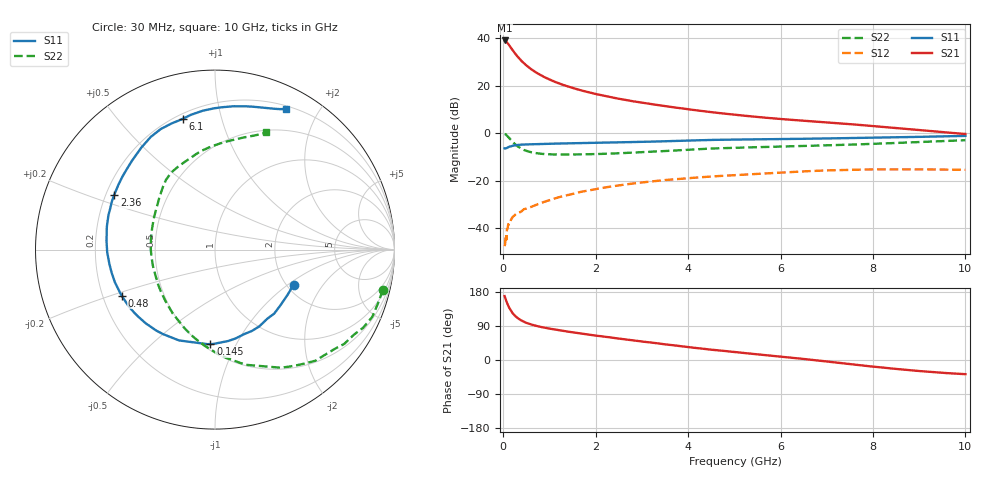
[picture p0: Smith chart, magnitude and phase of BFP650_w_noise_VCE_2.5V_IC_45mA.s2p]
! Infineon Technologies  Discrete & RF Semiconductors
! BFP650
! VCE =  2.5 V,  IC =  45 mA
! Common Emitter S-Parameters:  Jan 2016
# GHz  S  MA  R  50
!  f  S11  S21  S12  S22
! GHz  MAG  ANG  MAG  ANG  MAG  ANG  MAG  ANG
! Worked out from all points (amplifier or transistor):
!   229 points, 30 MHz to 10 GHz, reference 50 ohm
!   highest |S21| = 39.0 dB at 30 MHz (marker M1)
!   |S21| within 3 dB of that: start of sweep to 164.4 MHz
!   unconditionally stable (mu >= 1): 1.891 GHz to end of sweep
!   at 280 MHz: K = 0.44, MSG = 33.5 dB, |S12| = -33.9 dB
!   at 1.78 GHz: K = 0.99, MSG = 20.9 dB, |S12| = -24.3 dB
!   at 10 GHz: K = 1.03, MAG = 6.4 dB, |S12| = -15.4 dB
!   lowest NFmin = 0.91 dB at 450 MHz
!   S11 on the Smith chart (normalised r, x): 30 MHz: 2.18, -1.10; 145 MHz: 0.54, -0.79; 480 MHz: 0.28, -0.22; 2.36 GHz: 0.23, +0.24; 6.1 GHz: 0.23, +0.76; 10 GHz: 0.24, +1.60
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0.03  0.4795 -24.0  89.41 168.6  0.0042 68.5  0.962 -13.5
0.05  0.4787 -40.4  86.8 160.9  0.0067 68.9  0.9532 -23.1
0.06  0.4858 -47.3  86 157.9  0.0074 62.4  0.9332 -27.8
0.08  0.494 -60.1  81.9 151.3  0.0095 66.3  0.8913 -36.1
0.11  0.5084 -77.1  75.35 142.8  0.0122 64.0  0.8349 -47.8
0.145  0.5269 -92.8  67.36 134.5  0.0135 57.7  0.7617 -59.3
0.2  0.5443 -111.6  56.53 124.0  0.0171 54.8  0.6641 -75.1
0.26  0.5574 -125.9  47.21 116.0  0.0193 54.1  0.5825 -88.3
0.3  0.5637 -133.4  42.1 111.6  0.0209 51.4  0.5389 -96.1
0.4  0.5753 -146.4  32.83 103.7  0.0229 50.6  0.4685 -111.5
0.48  0.5793 -153.7  27.82 99.1  0.0256 50.5  0.4324 -121.3
0.7  0.59 -167.2  19.22 90.4  0.0309 51.8  0.3826 -141.7
0.9  0.5963 -175.3  14.95 85.1  0.0364 52.1  0.3632 -154.8
1.22  0.6068 175.1  11.04 78.2  0.0454 52.3  0.3561 -169.7
1.7  0.6205 164.0  7.9 69.6  0.0589 50.4  0.359 174.5
2.36  0.6387 151.5  5.64 58.8  0.0762 45.2  0.3732 158.5
3.4  0.6725 134.7  3.838 43.0  0.101 35.3  0.4157 139.4
5.1  0.7375 113.1  2.394 19.9  0.1324 18.7  0.4968 118.0
6.1  0.7513 103.6  1.956 7.8  0.1499 9.6  0.5257 106.0
6.8  0.7706 97.0  1.747 -1.1  0.1618 2.2  0.5491 99.3
8.4  0.8175 77.5  1.311 -22.4  0.1738 -15.3  0.6176 81.0
10  0.8778 63.1  0.963 -37.4  0.1698 -27.7  0.7124 66.4
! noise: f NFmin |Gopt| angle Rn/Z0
0.45  0.91  0.13  169  1.13
0.9  0.93  0.39  -168  0.06
1.9  1.08  0.43  -154  0.06
2.4  1.16  0.42  -145  0.07
3.5  1.37  0.44  -121  0.13
